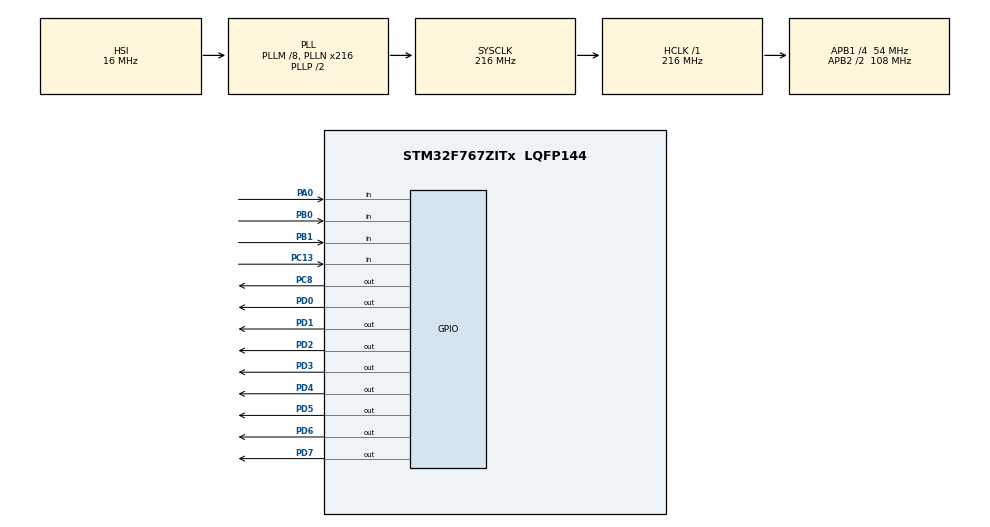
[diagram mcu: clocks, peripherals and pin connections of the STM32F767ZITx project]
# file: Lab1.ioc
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CORTEX_M7.default_mode_Activation=1
Mcu.Family=STM32F7
Mcu.Name=STM32F767ZITx
Mcu.Package=LQFP144
NVIC.PriorityGroup=NVIC_PRIORITYGROUP_4
PA0/WKUP.Signal=GPIO_Input
PB0.Signal=GPIO_Input
PB1.Signal=GPIO_Input
PC13.Signal=GPIO_Input
PC8.Signal=GPIO_Output
PD0.Signal=GPIO_Output
PD1.Signal=GPIO_Output
PD2.Signal=GPIO_Output
PD3.Signal=GPIO_Output
PD4.Signal=GPIO_Output
PD5.Signal=GPIO_Output
PD6.Signal=GPIO_Output
PD7.Signal=GPIO_Output
ProjectManager.HeapSize=0x200
ProjectManager.StackSize=0x400
ProjectManager.TargetToolchain=STM32CubeIDE
RCC.AHBFreq_Value=216000000
RCC.APB1CLKDivider=RCC_HCLK_DIV4
RCC.APB1Freq_Value=54000000
RCC.APB1TimFreq_Value=108000000
RCC.APB2CLKDivider=RCC_HCLK_DIV2
RCC.APB2Freq_Value=108000000
RCC.APB2TimFreq_Value=216000000
RCC.CortexFreq_Value=216000000
RCC.HCLKFreq_Value=216000000
RCC.HSE_VALUE=25000000
RCC.HSI_VALUE=16000000
RCC.LSE_VALUE=32768
RCC.PLLM=8
RCC.PLLN=216
RCC.SYSCLKFreq_VALUE=216000000
RCC.SYSCLKSource=RCC_SYSCLKSOURCE_PLLCLK
RCC.USBFreq_Value=216000000
RCC.VCOOutputFreq_Value=432000000
board=custom

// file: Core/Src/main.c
/* USER CODE BEGIN Header */
/**
  ******************************************************************************
  * @file           : main.c
  * @brief          : Main program body
  ******************************************************************************
  * @attention
  *
  * Copyright (c) 2025 STMicroelectronics.
  * All rights reserved.
  *
  * This software is licensed under terms that can be found in the LICENSE file
  * in the root directory of this software component.
  * If no LICENSE file comes with this software, it is provided AS-IS.
  *
  ******************************************************************************
  */
/* USER CODE END Header */
#include "main.h"

/* USER CODE BEGIN PV */
uint8_t led1 = 0;
int current = -1;
int down = 7;
int start = 0;
/* USER CODE END PV */

void SystemClock_Config(void);
static void MPU_Config(void);
static void MX_GPIO_Init(void);

int main(void)
{

  /* MPU Configuration--------------------------------------------------------*/
  MPU_Config();

  /* MCU Configuration--------------------------------------------------------*/

  /* Reset of all peripherals, Initializes the Flash interface and the Systick. */
  HAL_Init();

  /* Configure the system clock */
  SystemClock_Config();

  /* Initialize all configured peripherals */
  MX_GPIO_Init();

  /* Infinite loop */
  while (1)
  {

    /* USER CODE BEGIN 3 */
	  /*if(HAL_GPIO_ReadPin(GPIOC, GPIO_PIN_13)== GPIO_PIN_SET)
	  {
		  HAL_GPIO_WritePin(GPIOB, GPIO_PIN_0, GPIO_PIN_SET);
		  HAL_Delay(1000);
		  HAL_GPIO_WritePin(GPIOB, GPIO_PIN_0, GPIO_PIN_RESET);

	  }*/

	  /*if(HAL_GPIO_ReadPin(GPIOB, GPIO_PIN_1)== GPIO_PIN_SET)
	  	  {
	  		  HAL_GPIO_WritePin(GPIOC, GPIO_PIN_8, GPIO_PIN_SET);
	  		  HAL_Delay(1000);
	  		  HAL_GPIO_WritePin(GPIOC, GPIO_PIN_8, GPIO_PIN_RESET);

	  	  }*/
	  /*
	  if(HAL_GPIO_ReadPin(GPIOA, GPIO_PIN_0)== GPIO_PIN_RESET)
	  {
		  HAL_GPIO_WritePin(GPIOC, GPIO_PIN_8, GPIO_PIN_SET);
		  led1 = 1;
		  HAL_Delay(1000);
		  HAL_GPIO_WritePin(GPIOC, GPIO_PIN_8, GPIO_PIN_RESET);
		  led1 = 0;

	  }*/

	  // ===================== BUTTON B1 =====================
	  if(HAL_GPIO_ReadPin(GPIOC, GPIO_PIN_13) == GPIO_PIN_SET) // ปุ่ม B1
	  {
		  HAL_Delay(50); // debounce
		  down = 7;

		  // ดับไฟทุกดวงก่อน
		  for(int i=0;i<8;i++)
			  HAL_GPIO_WritePin(GPIOD, 1<<i, GPIO_PIN_RESET);

		  // ถ้าไม่มีไฟ → เริ่ม LED0
		  if(current == -1)
			  current = 0;
		  else
		  {
			  current++;
			  if(current > 7) current = 0;
		  }

		  // เปิดไฟเฉพาะดวงที่ current
		  HAL_GPIO_WritePin(GPIOD, 1<<current, GPIO_PIN_SET);
		  HAL_Delay(300);
//		  // รอจนปล่อยปุ่ม
//		  while(HAL_GPIO_ReadPin(GPIOC, GPIO_PIN_13) == GPIO_PIN_RESET);

	  }
	  // ============= BUTTON PA0 ==================
	  if(HAL_GPIO_ReadPin(GPIOA, GPIO_PIN_0) == GPIO_PIN_RESET)
	  {
	      HAL_Delay(50); // debounce

	      // -----------------------------
	      // CASE 1: มีไฟติดอยู่แล้ว
	      // -----------------------------
	      if(current != -1)
	      {
	          int start = current;
	          int i = start;
	          int first = 1;   // ป้องกันหยุดทันที

	          while (1)
	          {
	              // ดับทุกดวงก่อน
	              for(int j=0; j<8; j++)
	                  HAL_GPIO_WritePin(GPIOD, 1<<j, GPIO_PIN_RESET);

	              // เปิดดวงปัจจุบัน
	              HAL_GPIO_WritePin(GPIOD, 1<<i, GPIO_PIN_SET);
	              HAL_Delay(300);

	              // เช็คหยุด (หลังจากผ่านรอบแรกไปแล้ว)
	              if(!first && i == start)
	                  break;

	              first = 0;

	              // ลดตำแหน่ง
	              i--;
	              if(i < 0)
	                  i = 7;
	          }

	          // ค้างหน้าจุดเดิม
	          current = start;
	      }
	      else
	      {
	          // -----------------------------
	          // CASE 2: ไม่มีไฟติดเลย
	          // -----------------------------
	          for(int i=7; i>=0; i--)
	          {
	              for(int j=0; j<8; j++)
	                  HAL_GPIO_WritePin(GPIOD, 1<<j, GPIO_PIN_RESET);

	              HAL_GPIO_WritePin(GPIOD, 1<<i, GPIO_PIN_SET);
	              HAL_Delay(300);
	          }

	          // ดับหมด
	          for(int j=0; j<8; j++)
	              HAL_GPIO_WritePin(GPIOD, 1<<j, GPIO_PIN_RESET);

	          current = -1;
	      }
//
//	      // รอปล่อยปุ่ม (กด = 0 → รอจนเป็น 1)
//	      while(HAL_GPIO_ReadPin(GPIOA, GPIO_PIN_0) == GPIO_PIN_RESET);
	  }

  }
  /* USER CODE END 3 */
}

void SystemClock_Config(void)
{
  RCC_OscInitTypeDef RCC_OscInitStruct = {0};
  RCC_ClkInitTypeDef RCC_ClkInitStruct = {0};

  /** Configure the main internal regulator output voltage
  */
  __HAL_RCC_PWR_CLK_ENABLE();
  __HAL_PWR_VOLTAGESCALING_CONFIG(PWR_REGULATOR_VOLTAGE_SCALE1);

  /** Initializes the RCC Oscillators according to the specified parameters
  * in the RCC_OscInitTypeDef structure.
  */
  RCC_OscInitStruct.OscillatorType = RCC_OSCILLATORTYPE_HSI;
  RCC_OscInitStruct.HSIState = RCC_HSI_ON;
  RCC_OscInitStruct.HSICalibrationValue = RCC_HSICALIBRATION_DEFAULT;
  RCC_OscInitStruct.PLL.PLLState = RCC_PLL_ON;
  RCC_OscInitStruct.PLL.PLLSource = RCC_PLLSOURCE_HSI;
  RCC_OscInitStruct.PLL.PLLM = 8;
  RCC_OscInitStruct.PLL.PLLN = 216;
  RCC_OscInitStruct.PLL.PLLP = RCC_PLLP_DIV2;
  RCC_OscInitStruct.PLL.PLLQ = 2;
  RCC_OscInitStruct.PLL.PLLR = 2;
  if (HAL_RCC_OscConfig(&RCC_OscInitStruct) != HAL_OK)
  {
    Error_Handler();
  }

  /** Activate the Over-Drive mode
  */
  if (HAL_PWREx_EnableOverDrive() != HAL_OK)
  {
    Error_Handler();
  }

  /** Initializes the CPU, AHB and APB buses clocks
  */
  RCC_ClkInitStruct.ClockType = RCC_CLOCKTYPE_HCLK|RCC_CLOCKTYPE_SYSCLK
                              |RCC_CLOCKTYPE_PCLK1|RCC_CLOCKTYPE_PCLK2;
  RCC_ClkInitStruct.SYSCLKSource = RCC_SYSCLKSOURCE_PLLCLK;
  RCC_ClkInitStruct.AHBCLKDivider = RCC_SYSCLK_DIV1;
  RCC_ClkInitStruct.APB1CLKDivider = RCC_HCLK_DIV4;
  RCC_ClkInitStruct.APB2CLKDivider = RCC_HCLK_DIV2;

  if (HAL_RCC_ClockConfig(&RCC_ClkInitStruct, FLASH_LATENCY_7) != HAL_OK)
  {
    Error_Handler();
  }
}

static void MX_GPIO_Init(void)
{
  GPIO_InitTypeDef GPIO_InitStruct = {0};

  /* GPIO Ports Clock Enable */
  __HAL_RCC_GPIOC_CLK_ENABLE();
  __HAL_RCC_GPIOA_CLK_ENABLE();
  __HAL_RCC_GPIOB_CLK_ENABLE();
  __HAL_RCC_GPIOD_CLK_ENABLE();

  /*Configure GPIO pin Output Level */
  HAL_GPIO_WritePin(GPIOC, GPIO_PIN_8, GPIO_PIN_RESET);

  /*Configure GPIO pin Output Level */
  HAL_GPIO_WritePin(GPIOD, GPIO_PIN_0|GPIO_PIN_1|GPIO_PIN_2|GPIO_PIN_3
                          |GPIO_PIN_4|GPIO_PIN_5|GPIO_PIN_6|GPIO_PIN_7, GPIO_PIN_RESET);

  /*Configure GPIO pin : PC13 */
  GPIO_InitStruct.Pin = GPIO_PIN_13;
  GPIO_InitStruct.Mode = GPIO_MODE_INPUT;
  GPIO_InitStruct.Pull = GPIO_NOPULL;
  HAL_GPIO_Init(GPIOC, &GPIO_InitStruct);

  /*Configure GPIO pin : PA0 */
  GPIO_InitStruct.Pin = GPIO_PIN_0;
  GPIO_InitStruct.Mode = GPIO_MODE_INPUT;
  GPIO_InitStruct.Pull = GPIO_NOPULL;
  HAL_GPIO_Init(GPIOA, &GPIO_InitStruct);

  /*Configure GPIO pins : PB0 PB1 */
  GPIO_InitStruct.Pin = GPIO_PIN_0|GPIO_PIN_1;
  GPIO_InitStruct.Mode = GPIO_MODE_INPUT;
  GPIO_InitStruct.Pull = GPIO_NOPULL;
  HAL_GPIO_Init(GPIOB, &GPIO_InitStruct);

  /*Configure GPIO pin : PC8 */
  GPIO_InitStruct.Pin = GPIO_PIN_8;
  GPIO_InitStruct.Mode = GPIO_MODE_OUTPUT_PP;
  GPIO_InitStruct.Pull = GPIO_NOPULL;
  GPIO_InitStruct.Speed = GPIO_SPEED_FREQ_LOW;
  HAL_GPIO_Init(GPIOC, &GPIO_InitStruct);

  /*Configure GPIO pins : PD0 PD1 PD2 PD3
                           PD4 PD5 PD6 PD7 */
  GPIO_InitStruct.Pin = GPIO_PIN_0|GPIO_PIN_1|GPIO_PIN_2|GPIO_PIN_3
                          |GPIO_PIN_4|GPIO_PIN_5|GPIO_PIN_6|GPIO_PIN_7;
  GPIO_InitStruct.Mode = GPIO_MODE_OUTPUT_PP;
  GPIO_InitStruct.Pull = GPIO_NOPULL;
  GPIO_InitStruct.Speed = GPIO_SPEED_FREQ_LOW;
  HAL_GPIO_Init(GPIOD, &GPIO_InitStruct);

}

 /* MPU Configuration */

void MPU_Config(void)
{
  MPU_Region_InitTypeDef MPU_InitStruct = {0};

  /* Disables the MPU */
  HAL_MPU_Disable();

  /** Initializes and configures the Region and the memory to be protected
  */
  MPU_InitStruct.Enable = MPU_REGION_ENABLE;
  MPU_InitStruct.Number = MPU_REGION_NUMBER0;
  MPU_InitStruct.BaseAddress = 0x0;
  MPU_InitStruct.Size = MPU_REGION_SIZE_4GB;
  MPU_InitStruct.SubRegionDisable = 0x87;
  MPU_InitStruct.TypeExtField = MPU_TEX_LEVEL0;
  MPU_InitStruct.AccessPermission = MPU_REGION_NO_ACCESS;
  MPU_InitStruct.DisableExec = MPU_INSTRUCTION_ACCESS_DISABLE;
  MPU_InitStruct.IsShareable = MPU_ACCESS_SHAREABLE;
  MPU_InitStruct.IsCacheable = MPU_ACCESS_NOT_CACHEABLE;
  MPU_InitStruct.IsBufferable = MPU_ACCESS_NOT_BUFFERABLE;

  HAL_MPU_ConfigRegion(&MPU_InitStruct);
  /* Enables the MPU */
  HAL_MPU_Enable(MPU_PRIVILEGED_DEFAULT);

}

void Error_Handler(void)
{
  __disable_irq();
  while (1)
  {
  }
}
